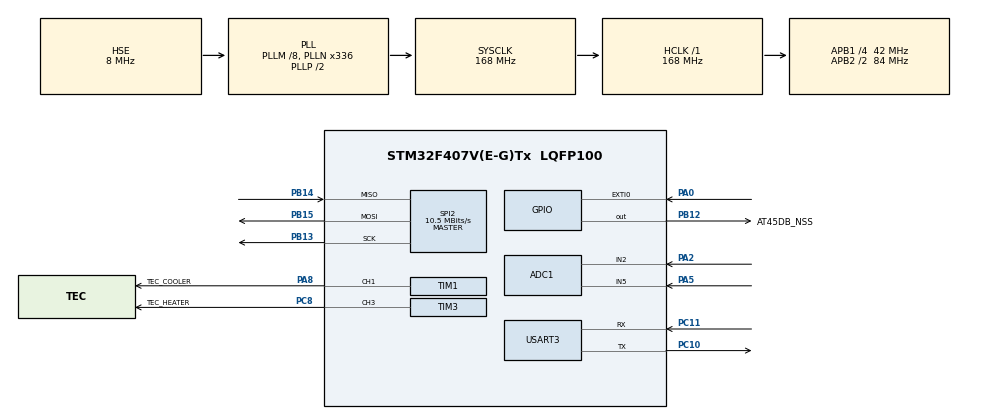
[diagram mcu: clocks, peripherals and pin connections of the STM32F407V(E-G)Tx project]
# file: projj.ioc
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ADC1.Channel-1\#ChannelRegularConversion=ADC_CHANNEL_TEMPSENSOR
ADC1.Channel-2\#ChannelRegularConversion=ADC_CHANNEL_2
ADC1.Channel-3\#ChannelRegularConversion=ADC_CHANNEL_5
ADC1.ContinuousConvMode=DISABLE
ADC1.EOCSelection=ADC_EOC_SEQ_CONV
ADC1.NbrOfConversion=3
ADC1.NbrOfConversionFlag=1
ADC1.Rank-1\#ChannelRegularConversion=1
ADC1.Rank-2\#ChannelRegularConversion=2
ADC1.Rank-3\#ChannelRegularConversion=3
ADC1.SamplingTime-1\#ChannelRegularConversion=ADC_SAMPLETIME_56CYCLES
ADC1.SamplingTime-2\#ChannelRegularConversion=ADC_SAMPLETIME_56CYCLES
ADC1.SamplingTime-3\#ChannelRegularConversion=ADC_SAMPLETIME_56CYCLES
ADC1.ScanConvMode=ENABLE
ADC1.master=1
Dma.ADC1.0.Direction=DMA_PERIPH_TO_MEMORY
Dma.ADC1.0.FIFOMode=DMA_FIFOMODE_DISABLE
Dma.ADC1.0.Instance=DMA2_Stream0
Dma.ADC1.0.MemDataAlignment=DMA_MDATAALIGN_HALFWORD
Dma.ADC1.0.MemInc=DMA_MINC_ENABLE
Dma.ADC1.0.Mode=DMA_NORMAL
Dma.ADC1.0.PeriphDataAlignment=DMA_PDATAALIGN_HALFWORD
Dma.ADC1.0.PeriphInc=DMA_PINC_DISABLE
Dma.ADC1.0.Priority=DMA_PRIORITY_LOW
Dma.Request0=ADC1
Dma.Request1=USART3_RX
Dma.USART3_RX.1.Direction=DMA_PERIPH_TO_MEMORY
Dma.USART3_RX.1.FIFOMode=DMA_FIFOMODE_DISABLE
Dma.USART3_RX.1.Instance=DMA1_Stream1
Dma.USART3_RX.1.MemDataAlignment=DMA_MDATAALIGN_BYTE
Dma.USART3_RX.1.MemInc=DMA_MINC_ENABLE
Dma.USART3_RX.1.Mode=DMA_NORMAL
Dma.USART3_RX.1.PeriphDataAlignment=DMA_PDATAALIGN_BYTE
Dma.USART3_RX.1.PeriphInc=DMA_PINC_DISABLE
Dma.USART3_RX.1.Priority=DMA_PRIORITY_LOW
Mcu.Family=STM32F4
Mcu.Name=STM32F407V(E-G)Tx
Mcu.Package=LQFP100
NVIC.DMA1_Stream1_IRQn=true\:0\:0\:false\:false\:true\:false\:true\:true
NVIC.DMA2_Stream0_IRQn=true\:0\:0\:false\:false\:true\:false\:true\:true
NVIC.EXTI0_IRQn=true\:0\:1\:false\:false\:true\:true\:true\:true
NVIC.PriorityGroup=NVIC_PRIORITYGROUP_0
NVIC.USART3_IRQn=true\:0\:0\:false\:false\:true\:true\:true\:true
PA0-WKUP.Signal=GPXTI0
PA13.Mode=Serial_Wire
PA13.Signal=SYS_JTMS-SWDIO
PA14.Mode=Serial_Wire
PA14.Signal=SYS_JTCK-SWCLK
PA2.Signal=ADCx_IN2
PA5.Signal=ADCx_IN5
PA8.GPIO_Label=TEC_COOLER
PA8.Signal=S_TIM1_CH1
PA9.GPIO_Label=LED_BLUE
PA9.Signal=S_TIM1_CH2
PB12.GPIO_Label=AT45DB_NSS
PB12.PinState=GPIO_PIN_SET
PB12.Signal=GPIO_Output
PB13.Mode=Full_Duplex_Master
PB13.Signal=SPI2_SCK
PB14.Mode=Full_Duplex_Master
PB14.Signal=SPI2_MISO
PB15.Mode=Full_Duplex_Master
PB15.Signal=SPI2_MOSI
PC10.Mode=Asynchronous
PC10.Signal=USART3_TX
PC11.Mode=Asynchronous
PC11.Signal=USART3_RX
PC14-OSC32_IN.Mode=LSE-External-Oscillator
PC14-OSC32_IN.Signal=RCC_OSC32_IN
PC15-OSC32_OUT.Mode=LSE-External-Oscillator
PC15-OSC32_OUT.Signal=RCC_OSC32_OUT
PC8.GPIO_Label=TEC_HEATER
PC8.Signal=S_TIM3_CH3
PH0-OSC_IN.Mode=HSE-External-Oscillator
PH0-OSC_IN.Signal=RCC_OSC_IN
PH1-OSC_OUT.Mode=HSE-External-Oscillator
PH1-OSC_OUT.Signal=RCC_OSC_OUT
ProjectManager.HeapSize=0x200
ProjectManager.StackSize=0x400
ProjectManager.TargetToolchain=STM32CubeIDE
RCC.48MHZClocksFreq_Value=48000000
RCC.AHBFreq_Value=168000000
RCC.APB1CLKDivider=RCC_HCLK_DIV4
RCC.APB1Freq_Value=42000000
RCC.APB1TimFreq_Value=84000000
RCC.APB2CLKDivider=RCC_HCLK_DIV2
RCC.APB2Freq_Value=84000000
RCC.APB2TimFreq_Value=168000000
RCC.CortexFreq_Value=168000000
RCC.HCLKFreq_Value=168000000
RCC.HSE_VALUE=8000000
RCC.HSI_VALUE=16000000
RCC.PLLM=8
RCC.PLLN=336
RCC.PLLQ=7
RCC.PLLSourceVirtual=RCC_PLLSOURCE_HSE
RCC.SYSCLKFreq_VALUE=168000000
RCC.SYSCLKSource=RCC_SYSCLKSOURCE_PLLCLK
RCC.VCOOutputFreq_Value=336000000
RTC.Format=RTC_FORMAT_BIN
SH.ADCx_IN2.0=ADC1_IN2,IN2
SH.ADCx_IN5.0=ADC1_IN5,IN5
SH.S_TIM1_CH1.0=TIM1_CH1,PWM Generation1 CH1
SH.S_TIM1_CH2.0=TIM1_CH2
SH.S_TIM3_CH3.0=TIM3_CH3,PWM Generation3 CH3
SPI2.BaudRatePrescaler=SPI_BAUDRATEPRESCALER_4
SPI2.CLKPhase=SPI_PHASE_2EDGE
SPI2.CLKPolarity=SPI_POLARITY_HIGH
SPI2.CalculateBaudRate=10.5 MBits/s
SPI2.Direction=SPI_DIRECTION_2LINES
SPI2.Mode=SPI_MODE_MASTER
SPI2.VirtualType=VM_MASTER
TIM1.Channel-PWM\ Generation1\ CH1=TIM_CHANNEL_1
TIM1.OC1Preload_PWM=DISABLE
TIM1.Period=1000
TIM1.Prescaler=1
TIM3.Channel-PWM\ Generation3\ CH3=TIM_CHANNEL_3
USART3.VirtualMode=VM_ASYNC
VP_ADC1_TempSens_Input.Mode=IN-TempSens
VP_RTC_VS_RTC_Activate.Mode=RTC_Enabled
VP_RTC_VS_RTC_Calendar.Mode=RTC_Calendar
VP_TIM1_VS_ClockSourceINT.Mode=Internal
VP_TIM3_VS_ClockSourceINT.Mode=Internal
board=STM32F407G-DISC1

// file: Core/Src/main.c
/* USER CODE BEGIN Header */
/**
 ******************************************************************************
 * @file           : main.c
 * @brief          : Main program body
 ******************************************************************************
 * @attention
 *
 * Copyright (c) 2024 STMicroelectronics.
 * All rights reserved.
 *
 * This software is licensed under terms that can be found in the LICENSE file
 * in the root directory of this software component.
 * If no LICENSE file comes with this software, it is provided AS-IS.
 *
 ******************************************************************************
 */
/* USER CODE END Header */
#include "main.h"
#include "adc.h"
#include "dma.h"
#include "rtc.h"
#include "spi.h"
#include "tim.h"
#include "usart.h"
#include "gpio.h"

/* USER CODE BEGIN Includes */
#include <math.h>
#include <stdio.h>
#include <float.h>
#include <string.h>
#include <stdint.h>
#include <stdlib.h>
#include "pid.h"
#include "temp_util.h"
#include "ringbuffer.h"
#include "modishbus.h"
#include "at45db.h"

/* USER CODE END Includes */

void SystemClock_Config(void);

/* USER CODE BEGIN 0 */

#define USE_FULL_ASSERT 1

//#ifdef __GNUC__
//#define PUTCHAR_PROTOTYPE int __io_putchar(int ch)
//#else
//#define PUTCHAR_PROTOTYPE int fputc(int ch, FILE *f)
//#endif
//
//PUTCHAR_PROTOTYPE {
//	HAL_UART_Transmit(&huart3, (uint8_t*) &ch, 1, HAL_MAX_DELAY);
//	return ch;
//}

float pid_op;
uint16_t adc_buf[3];
uint32_t duty_cycle;
int set_point = 0;
uint16_t temp_sp_pmeter;
int internal_temp_val;
int thermistor_temp_val;
PID pid;
uint32_t clock_packed;
uint32_t date_packed;

typedef enum {
	STANDBY = 0, SET_TEMP, TEMP_STABLE, FAULT, STANDBY_IT
} State;

RTC_DateTypeDef gDate;
RTC_TimeTypeDef gTime;

static int packet_ready = 0;
static int packet_msg_ready = 0;

int str2int(const char *str, int len) {
	int i = 0;
	int ret = 0;
	if (str[0] == '-')
		i++;
	for (; i < len; ++i)
		ret = ret * 10 + (str[i] - '0');
	if (str[0] == '-')
		ret *= -1;
	return ret;
}

void dev_write_slave(uint8_t *data, size_t data_size) {
// debugging print
	logd("resp -> ");
	for (size_t i = 0; i < data_size; i++)
		logd("0x%X ", data[i]);
	logd("\n");

	HAL_UART_Transmit(&huart3, data, data_size, HAL_MAX_DELAY);
}

#define NEXT_MSG_READ_MAX 32
uint8_t uart_rx_buf[FIRST_READ_SZ + NEXT_MSG_READ_MAX];

RingBuffer rb;
RegContainer rc;

#define EEPROM_PID_PAGE 0
#define PID_START_REG 1
#define CLOCK_REG 4
#define STATUS_REG 2

void r_reg_cb(Analog *regs, R_Req *req) {
	if (req->first_reg_idx == CLOCK_REG && req->reg_count == 1) {
		get_time_date(&gDate, &gTime);
		// TODO: save gdate and gtime to registers and response to this
	}
}
void w_reg_cb(Analog *regs, W_Req *req) {
// save to eeprom message
	if (req->first_reg_idx == PID_START_REG && req->reg_count == 3) {
		at45db_write_page(req->data, 3 * sizeof(uint32_t), EEPROM_PID_PAGE);
	} else if (req->first_reg_idx == CLOCK_REG && req->reg_count == 1) {
		uint32_t clock_msg = *(uint32_t*) req->data;
		set_time((clock_msg >> 2 * 8) & 0xFF, (clock_msg >> 1 * 8) & 0xFF, (clock_msg >> 0 * 8) & 0xFF);
	}
}

void handle_msg() {
	static Dev dev = { 0x1 }; // TODO: dev id?
	query(r_reg_cb, w_reg_cb, dev_write_slave, &dev, &rc, uart_rx_buf);
}

// * this requires the mode of setting EOC flag at the end of a single conversion
void ADC_ReadCH(ADC_HandleTypeDef *adcHandle, uint32_t ch, uint32_t *buf) {
	ADC_ChannelConfTypeDef sConfig = { 0 };
	sConfig.Channel = ch;
	sConfig.Rank = 1;
	assert(HAL_ADC_ConfigChannel(adcHandle, &sConfig) != HAL_ERROR);
	assert(HAL_ADC_Start_DMA(&hadc1, buf, 1) != HAL_ERROR);
	while (!(HAL_ADC_GetState(&hadc1) & (HAL_ADC_STATE_READY | HAL_ADC_STATE_EOC_REG)))
		__NOP();
}

void ADC_ReadCH_All(ADC_HandleTypeDef *adcHandle, uint16_t *buf, size_t size) {
	assert(size > 1);
	assert(HAL_ADC_Start_DMA(&hadc1, (uint32_t* ) buf, size) == HAL_OK);
	while (!(HAL_ADC_GetState(&hadc1) & (HAL_ADC_STATE_READY | HAL_ADC_STATE_EOC_REG)))
		__NOP();
	assert(HAL_ADC_Stop_DMA(adcHandle) == HAL_OK);
}

static uint16_t rb_buf[16];
static inline uint16_t ADC_avg_filter(RingBuffer *rb, uint16_t data) {
	rb_dequeue(rb);
	uint32_t total = 0;
	for (int i = 0; i < rb->size; i++)
		total += rb->buf[i];
	rb_queue(rb, data);
	return total / rb->size;
}

void flush_uart(void) {
	uint8_t b = 0;
	while (HAL_UART_Receive(&huart3, &b, 1, 0) != HAL_TIMEOUT)
		;
}

//static float adc_lpf_param = 0.6;
//uint32_t adc_lpf(uint32_t xi) {
//	static float y_prev = 0;
//	uint32_t y = (uint32_t) (adc_lpf_param * xi + (1 - adc_lpf_param) * y_prev);
//	y_prev = y;
//	return y;
//}

#define ARR_LEN(a) (sizeof(a)/sizeof(a[0]))

void read_temps(void) {
	//	ADC_ReadCH(&hadc1, ADC_CHANNEL_TEMPSENSOR, &temp_raw[0]);
	//	temp[0] = internal_temp(temp_raw[0]);
	//	ADC_ReadCH(&hadc1, ADC_CHANNEL_2, &temp_raw[1]);
	//	temp[1] = thermistor_temp(temp_raw[1]);

	ADC_ReadCH_All(&hadc1, adc_buf, ARR_LEN(adc_buf));
	internal_temp_val = internal_temp(adc_buf[0]);
	thermistor_temp_val = thermistor_temp(adc_buf[1]);

	return; // TODO: do i need the set point from pot-meter?
	// temp_sp_pmeter: 0 -> 100
	temp_sp_pmeter = ADC_avg_filter(&rb, adc_buf[2] * 100 / 4096);

	static uint16_t temp_sp_pmeter_prev = 0;
	if (temp_sp_pmeter != temp_sp_pmeter_prev) {
		logd("set temp (potentiometer):%d -> %d\n", set_point, temp_sp_pmeter - 50);
		set_point = temp_sp_pmeter - 50; // -50 to offset between = -50 -> +50
		temp_sp_pmeter_prev = temp_sp_pmeter;
	}
}

static State st = STANDBY;
void update_pid_pwm(float pid_op) {
	if (pid_op > 0) {
		duty_cycle = pid_op * 100.0 / pid.limMax;
		setPWMDutyCycle(&htim3, TIM_CHANNEL_3, 0);
		setPWMDutyCycle(&htim1, TIM_CHANNEL_1, duty_cycle);
	} else if (pid_op < 0) {
		duty_cycle = -(pid_op * 100.0 / pid.limMin);
		setPWMDutyCycle(&htim1, TIM_CHANNEL_1, 0);
		setPWMDutyCycle(&htim3, TIM_CHANNEL_3, duty_cycle);
	} else {
		setPWMDutyCycle(&htim3, TIM_CHANNEL_3, 0);
		setPWMDutyCycle(&htim1, TIM_CHANNEL_1, 0);
		st = TEMP_STABLE;
	}
}

#define TEMP_STABLE_OFFSET 1

void state_dispatch(void) {
	switch (st) {
	case STANDBY: {
		// HAL_PWR_EnableSleepOnExit();
		HAL_SuspendTick();
		HAL_PWR_EnterSLEEPMode(PWR_MAINREGULATOR_ON, PWR_SLEEPENTRY_WFI);
		break;
	}
	case STANDBY_IT: {
		HAL_SuspendTick();
		HAL_PWR_EnterSLEEPMode(PWR_MAINREGULATOR_ON, PWR_SLEEPENTRY_WFI);
		st = STANDBY;
		break;
	}
	case SET_TEMP: {
		read_temps();
		pid_op = PIDUpdate(&pid, set_point, thermistor_temp_val);
		update_pid_pwm(pid_op);
		break;
	}
	case TEMP_STABLE: {
		read_temps();
		if (abs(set_point - thermistor_temp_val) > TEMP_STABLE_OFFSET)
			st = SET_TEMP;
		break;
	}
	case FAULT: {
		// TODO: report error
		break;
	}
	default:
		assert(0 && "unreachable");
		break;

	}
}

/* USER CODE END 0 */

int main(void) {

	/* MCU Configuration--------------------------------------------------------*/

	/* Reset of all peripherals, Initializes the Flash interface and the Systick. */
	HAL_Init();

	/* Configure the system clock */
	SystemClock_Config();

	/* Initialize all configured peripherals */
	MX_GPIO_Init();
	MX_DMA_Init();
	MX_ADC1_Init();
	MX_TIM1_Init();
	MX_USART3_UART_Init();
	MX_RTC_Init();
	MX_SPI2_Init();
	MX_TIM3_Init();
	/* USER CODE BEGIN 2 */

	HAL_TIM_PWM_Start(&htim1, TIM_CHANNEL_1);
	HAL_TIM_PWM_Start(&htim3, TIM_CHANNEL_3);

	/* USER CODE END 2 */

	/* Infinite loop */
	/* USER CODE BEGIN WHILE */

// initalize PID with defaults
	{
		// PID pid = { 0 };
		pid.Kp = 1.0f;
		pid.limMin = -(float) __HAL_TIM_GET_AUTORELOAD(&htim3); // -1000
		pid.limMax = (float) __HAL_TIM_GET_AUTORELOAD(&htim1); // 1000
		pid.limMinInt = pid.limMin;
		pid.limMaxInt = pid.limMax;
		pid.T = 0.2;
	}

// initalize EEPROM
	{
		HAL_GPIO_WritePin(AT45DB_NSS_GPIO_Port, AT45DB_NSS_Pin, GPIO_PIN_SET);
		at45db_transmit_byte(AT45DB_RESUME);
		HAL_Delay(30);

		uint8_t dev_id[2] = { 0 };
		uint8_t data_devid = AT45DB_DEVID;
		at45db_transmit_receive(&data_devid, 1, dev_id, ARR_LEN(dev_id));
		// uint8_t status at45db_read_status();
		assert(dev_id[0] == 0x1f);
		assert((dev_id[1] & 0x1f) == 0x04); // at45db041d

		// restore PID coeffs
		float pid_coeffs[3] = { 0 };
		at45db_read_page((uint8_t*) pid_coeffs, 3 * sizeof(float), EEPROM_PID_PAGE);
		pid.Kp = pid_coeffs[0];
		pid.Ki = pid_coeffs[1];
		pid.Kd = pid_coeffs[2];
	}

// calibrate ADC with the ring buffer
	{
		rb = rb_init(rb_buf, ARR_LEN(rb_buf));
		for (size_t i = 0; i < ARR_LEN(rb_buf); i++) {
			ADC_ReadCH_All(&hadc1, adc_buf, ARR_LEN(adc_buf));
			int reading = adc_buf[2] * 100 / 4096;
			rb_queue(&rb, reading);
		}
	}

// set up the registers
	{
		/* AI0 -> thermistor_temp_val
		 * AI1 -> internal_temp_val */
		static uint32_t *reg_lookup_table_i[] = { (uint32_t*) &thermistor_temp_val, (uint32_t*) &internal_temp_val,
				(uint32_t*) &st };
		/* AO0 -> set_point
		 * AO1 -> PID Kp
		 * AO2 -> PID Kd
		 * AO3 -> PID Ki */

		static uint32_t *reg_lookup_table_o[] = { (uint32_t*) &set_point, (uint32_t*) &pid.Kp, (uint32_t*) &pid.Ki,
				(uint32_t*) &pid.Kd, (uint32_t*) &clock_packed };
		rc = new_reg_container(sizeof(reg_lookup_table_i), sizeof(reg_lookup_table_o), reg_lookup_table_i,
				reg_lookup_table_o);

	}

// flush uart
	{
		flush_uart();
		HAL_StatusTypeDef r = HAL_UART_Receive_IT(&huart3, uart_rx_buf, FIRST_READ_SZ);
		logd("Debug logs enabled\n");
		logd("UART Status = %d\n", r);
	}

	while (1) {
		/* USER CODE END WHILE */

		/* USER CODE BEGIN 3 */
		if (packet_msg_ready) {
			handle_msg();
			packet_ready = 0;
			packet_msg_ready = 0;
			// TODO: for debugging
			memset(uart_rx_buf, 0, ARR_LEN(uart_rx_buf));
			HAL_UART_Receive_IT(&huart3, uart_rx_buf, FIRST_READ_SZ);
		}

		state_dispatch();
		HAL_Delay(200);
	}
	/* USER CODE END 3 */
}

void SystemClock_Config(void) {
	RCC_OscInitTypeDef RCC_OscInitStruct = { 0 };
	RCC_ClkInitTypeDef RCC_ClkInitStruct = { 0 };

	/** Configure the main internal regulator output voltage
	 */
	__HAL_RCC_PWR_CLK_ENABLE();
	__HAL_PWR_VOLTAGESCALING_CONFIG(PWR_REGULATOR_VOLTAGE_SCALE1);

	/** Initializes the RCC Oscillators according to the specified parameters
	 * in the RCC_OscInitTypeDef structure.
	 */
	RCC_OscInitStruct.OscillatorType = RCC_OSCILLATORTYPE_LSI | RCC_OSCILLATORTYPE_HSE;
	RCC_OscInitStruct.HSEState = RCC_HSE_ON;
	RCC_OscInitStruct.LSIState = RCC_LSI_ON;
	RCC_OscInitStruct.PLL.PLLState = RCC_PLL_ON;
	RCC_OscInitStruct.PLL.PLLSource = RCC_PLLSOURCE_HSE;
	RCC_OscInitStruct.PLL.PLLM = 8;
	RCC_OscInitStruct.PLL.PLLN = 336;
	RCC_OscInitStruct.PLL.PLLP = RCC_PLLP_DIV2;
	RCC_OscInitStruct.PLL.PLLQ = 7;
	if (HAL_RCC_OscConfig(&RCC_OscInitStruct) != HAL_OK) {
		Error_Handler();
	}

	/** Initializes the CPU, AHB and APB buses clocks
	 */
	RCC_ClkInitStruct.ClockType = RCC_CLOCKTYPE_HCLK | RCC_CLOCKTYPE_SYSCLK | RCC_CLOCKTYPE_PCLK1 | RCC_CLOCKTYPE_PCLK2;
	RCC_ClkInitStruct.SYSCLKSource = RCC_SYSCLKSOURCE_PLLCLK;
	RCC_ClkInitStruct.AHBCLKDivider = RCC_SYSCLK_DIV1;
	RCC_ClkInitStruct.APB1CLKDivider = RCC_HCLK_DIV4;
	RCC_ClkInitStruct.APB2CLKDivider = RCC_HCLK_DIV2;

	if (HAL_RCC_ClockConfig(&RCC_ClkInitStruct, FLASH_LATENCY_5) != HAL_OK) {
		Error_Handler();
	}
}

/* USER CODE BEGIN 4 */

void HAL_UART_RxCpltCallback(UART_HandleTypeDef *huart) {
	if (packet_ready == 0) {
		size_t next_sz = next_read_sz(uart_rx_buf);
		if (next_sz > NEXT_MSG_READ_MAX) {
			logd("msg size too big: %d\n", next_sz);
			flush_uart();
			HAL_UART_Receive_IT(&huart3, uart_rx_buf, FIRST_READ_SZ);
			return;
		}
		packet_ready = 1;
		HAL_UART_Receive_IT(&huart3, uart_rx_buf + FIRST_READ_SZ, next_sz);
	} else {
		packet_msg_ready = 1;
		if (st == STANDBY)
			st = STANDBY_IT;
		HAL_ResumeTick();
	}
}

void HAL_GPIO_EXTI_Callback(uint16_t GPIO_Pin) {
	if (GPIO_Pin == GPIO_PIN_0) {
		HAL_ResumeTick();
		st = SET_TEMP;
	}

}

//void HAL_ADC_ConvCpltCallback(ADC_HandleTypeDef *hadc) {
//	temp[0] = internal_temp(temp_raw[0] << 4);
//	temp[1] = thermistor_temp(temp_raw[1] << 4);
//}

/* USER CODE END 4 */

void Error_Handler(void) {
	/* USER CODE BEGIN Error_Handler_Debug */
	/* User can add his own implementation to report the HAL error return state */
	loge("Error_Handler!\n");

	__disable_irq();
	while (1) {
	}
	/* USER CODE END Error_Handler_Debug */
}

#ifdef  USE_FULL_ASSERT
/**
 * @brief  Reports the name of the source file and the source line number
 *         where the assert_param error has occurred.
 * @param  file: pointer to the source file name
 * @param  line: assert_param error line source number
 * @retval None
 */
void assert_failed(uint8_t *file, uint32_t line) {
	/* USER CODE BEGIN 6 */
	loge("assertion fail: file %s on line %lu\r\n", file, line);
	/* User can add his own implementation to report the file name and line number,
	 ex: printf("Wrong parameters value: file %s on line %d\r\n", file, line) */
	/* USER CODE END 6 */
}
#endif /* USE_FULL_ASSERT */
